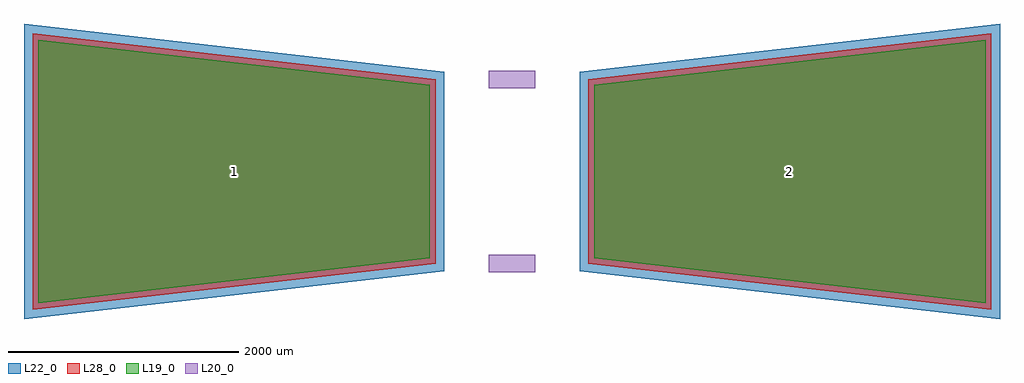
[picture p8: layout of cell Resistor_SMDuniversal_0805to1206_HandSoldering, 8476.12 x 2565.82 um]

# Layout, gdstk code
import gdstk
lib = gdstk.Library(unit=1e-6, precision=1e-09)
def P(c, l, *ps):  # polygons
    for p in ps: c.add(gdstk.Polygon(p, *l))
L19_0 = (19, 0)
L20_0 = (20, 0)
L22_0 = (22, 0)
L28_0 = (28, 0)

resistor_smduniversal_08 = lib.new_cell('Resistor_SMDuniversal_0805to1206_HandSoldering')
P(resistor_smduniversal_08, L19_0, [(712.94,-755.473),(712.94,755.473),(4113.06,1142.859),(4113.06,-1142.859)],
  [(-4113.06,-1142.859),(-4113.06,1142.859),(-712.94,755.473),(-712.94,-755.473)])
P(resistor_smduniversal_08, L22_0, [(587.94,-867.04),(587.94,867.04),(4238.06,1282.91),(4238.06,-1282.91)],
  [(-4238.06,-1282.91),(-4238.06,1282.91),(-587.94,867.04),(-587.94,-867.04)])
P(resistor_smduniversal_08, L28_0, [(662.94,-800.1),(662.94,800.1),(4163.06,1198.88),(4163.06,-1198.88)],
  [(-4163.06,-1198.88),(-4163.06,1198.88),(-662.94,800.1),(-662.94,-800.1)])
resistor_smduniversal_08.add(gdstk.FlexPath([(-200.66,800.1),(200.66,800.1)], 149.998, ends="flush", simple_path=True, layer=20, datatype=0))  # L20_0
resistor_smduniversal_08.add(gdstk.FlexPath([(-99.06,800.1),(-200.66,800.1)], 149.998, ends="flush", simple_path=True, layer=20, datatype=0))  # L20_0
resistor_smduniversal_08.add(gdstk.FlexPath([(0,-800.1),(-200.66,-800.1)], 149.998, ends="flush", simple_path=True, layer=20, datatype=0))  # L20_0
resistor_smduniversal_08.add(gdstk.FlexPath([(0,-800.1),(200.66,-800.1)], 149.998, ends="flush", simple_path=True, layer=20, datatype=0))  # L20_0
resistor_smduniversal_08.add(gdstk.Label('2', (2413,0), layer=28, texttype=0))
resistor_smduniversal_08.add(gdstk.Label('1', (-2413,0), layer=28, texttype=0))
resistor_smduniversal_08.add(gdstk.Label('type', (-398.78,-4201.16), layer=9, texttype=0))
resistor_smduniversal_08.add(gdstk.Label('devicename', (99.06,3098.8), layer=9, texttype=0))

lib.write_gds('Resistor_SMDuniversal_0805to1206_HandSoldering.gds')
